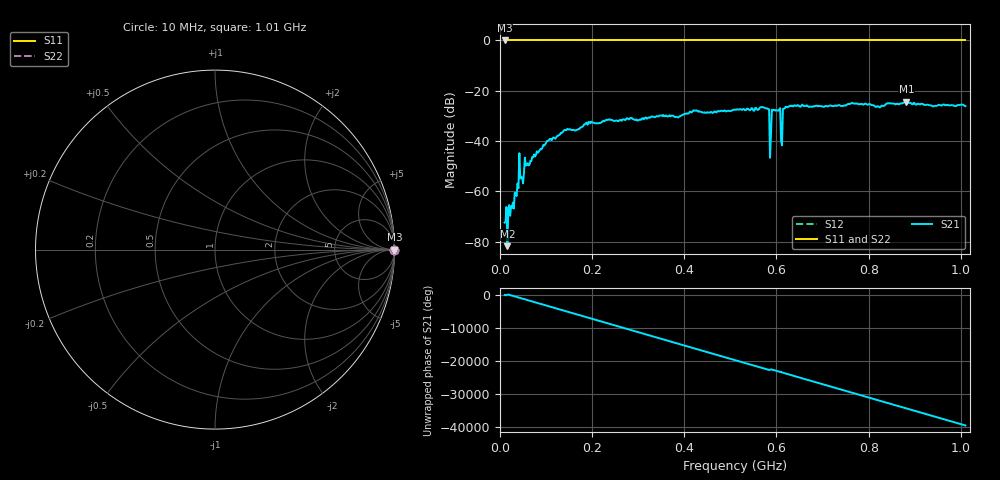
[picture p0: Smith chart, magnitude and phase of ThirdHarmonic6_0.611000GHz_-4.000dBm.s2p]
! 8/15/2025 8:00:59 PM
! C:\ANRITSUVNA\TEMP\TEMP.S2P
! CHANNEL.1
! TR.MEASUREMENT
! RAW.DATA
! RF.CORRECTION.OFF
! AVERAGING.OFF
! IF.BANDWIDTH: 5KHZ
! SWEEPTYPE:  FREQ.SWEEP(Linear)
! Reference Plane Port Info
! PORT:  PORT1  PORT2
! DISTANCE:  0  m  0  m
! TIME:  0  s  0  s
! PHASE.OFFSET:  0  deg.  0  deg.
! LOSS:  0  dB  0  dB
! REF.LOSS:  0  dB  0  dB
! REF.FREQ:  0  Hz  0  Hz
! Power Info
! POWER:  -20  dBm  -20  dBm
! EFF.POWER:  -20  dBm  -20  dBm
! SOURCE.ATTEN:  0  dB  0  dB
! TEST.ATTEN:  0  dB  0  dB
# GHZ S RI R 50.0
! FREQ.GHZ  S11RE  S11IM  S21RE  S21IM  S12RE  S12IM  S22RE  S22IM
!; PortSelection: Port_12
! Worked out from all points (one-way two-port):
!   501 points, 10 MHz to 1.01 GHz, reference 50 ohm
!   highest |S21| = -24.39 dB at 882 MHz (marker M1); lowest = -81.8 dB at 16 MHz (marker M2)
!   lowest |S11| = 0.0 dB at 10 MHz (marker M3)
!   |S11| at or under -10 dB: nowhere
!   |S22| runs from 0.0 to 0.0 dB; largest |S21 - S12| = 1.1
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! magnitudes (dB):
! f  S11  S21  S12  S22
! 10 MHz  0.0  -72.4  0.0  0.0
! 16 MHz  0.0  -81.8  0.0  0.0
! 32 MHz  0.0  -60.6  0.0  0.0
! 42 MHz  0.0  -44.8  0.0  0.0
! 48 MHz  0.0  -54.6  0.0  0.0
! 58 MHz  0.0  -49.5  0.0  0.0
! 106 MHz  0.0  -39.6  0.0  0.0
! 178 MHz  0.0  -34.3  0.0  0.0
! 344 MHz  0.0  -30.2  0.0  0.0
! 510 MHz  0.0  -27.5  0.0  0.0
! 580 MHz  0.0  -27.0  0.0  0.0
! 584 MHz  0.0  -27.3  0.0  0.0
! 590 MHz  0.0  -27.6  0.0  0.0
! 594 MHz  0.0  -27.6  0.0  0.0
! 604 MHz  0.0  -27.9  0.0  0.0
! 608 MHz  0.0  -26.9  0.0  0.0
! 614 MHz  0.0  -27.2  0.0  0.0
! 618 MHz  0.0  -27.0  0.0  0.0
! 678 MHz  0.0  -26.4  0.0  0.0
! 844 MHz  0.0  -25.0  0.0  0.0
! 882 MHz  0.0  -24.4  0.0  0.0
! 1.01 GHz  0.0  -26.1  0.0  0.0
